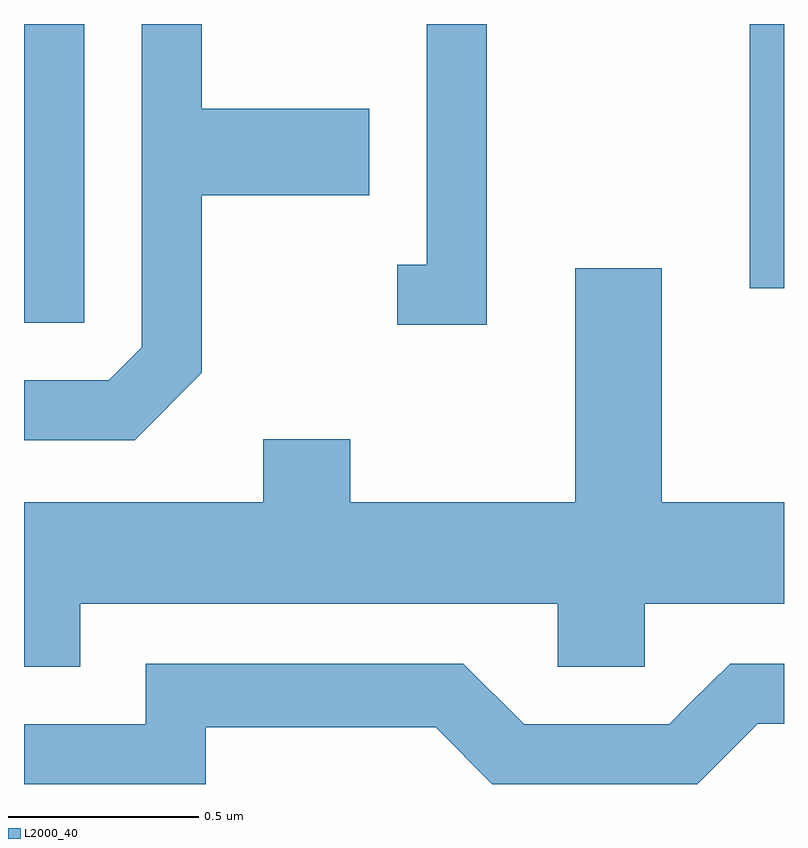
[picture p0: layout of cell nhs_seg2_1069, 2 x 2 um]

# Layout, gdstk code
import gdstk
lib = gdstk.Library(unit=1e-6, precision=1e-09)
def R(c, l, rs):  # rectangles x0, y0, x1, y1
    for r in rs: c.add(gdstk.rectangle(r[:2], r[2:], *l))
def P(c, l, *ps):  # polygons
    for p in ps: c.add(gdstk.Polygon(p, *l))
L2000_40 = (2000, 40)

nhs_seg2_1069 = lib.new_cell('nhs_seg2_1069')
R(nhs_seg2_1069, L2000_40, [(192.611,1089.016,192.769,1089.802), (194.521,1089.106,194.611,1089.802)])
P(nhs_seg2_1069, L2000_40, [(193.079,1088.884),(193.079,1089.351),(193.519,1089.351),(193.519,1089.579),(193.079,1089.579),(193.079,1089.802),(192.921,1089.802),(192.921,1088.952),(192.834,1088.864),(192.611,1088.864),(192.611,1088.706),(192.902,1088.706)],
  [(193.829,1089.802),(193.671,1089.802),(193.671,1089.169),(193.593,1089.169),(193.593,1089.011),(193.829,1089.011)],
  [(192.759,1088.276),(194.016,1088.276),(194.016,1088.111),(194.244,1088.111),(194.244,1088.276),(194.611,1088.276),(194.611,1088.544),(194.289,1088.544),(194.289,1089.159),(194.061,1089.159),(194.061,1088.544),(193.469,1088.544),(193.469,1088.709),(193.241,1088.709),(193.241,1088.544),(192.611,1088.544),(192.611,1088.111),(192.759,1088.111)],
  [(193.089,1087.951),(193.694,1087.951),(193.843,1087.802),(194.383,1087.802),(194.542,1087.961),(194.611,1087.961),(194.611,1088.119),(194.469,1088.119),(194.362,1088.013),(194.309,1087.959),(193.927,1087.959),(193.767,1088.119),(192.931,1088.119),(192.931,1087.959),(192.611,1087.959),(192.611,1087.802),(193.089,1087.802)])

lib.write_gds('nhs_seg2_1069.gds')
